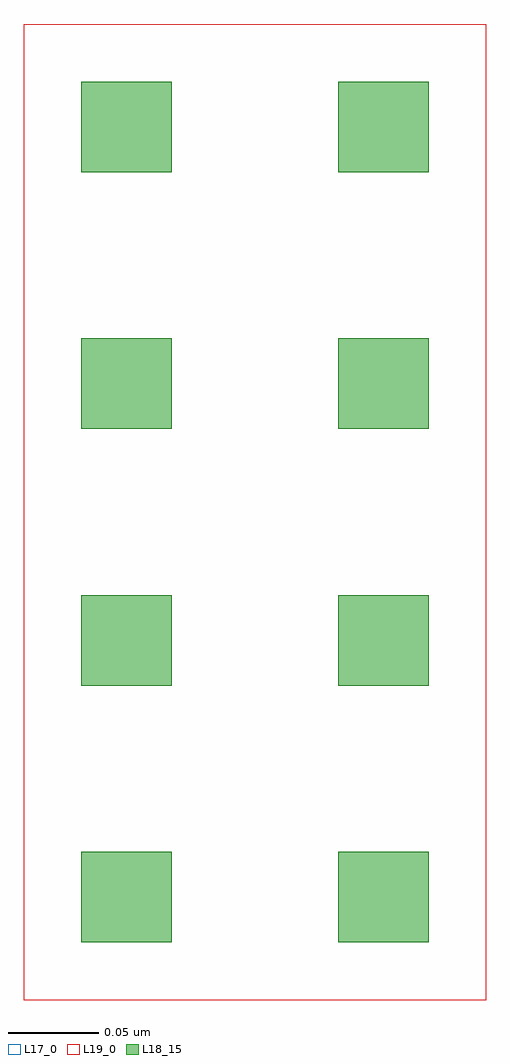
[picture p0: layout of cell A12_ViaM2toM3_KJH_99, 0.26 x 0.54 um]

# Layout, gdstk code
import gdstk
lib = gdstk.Library(unit=1e-6, precision=1e-09)
def R(c, l, rs):  # rectangles x0, y0, x1, y1
    for r in rs: c.add(gdstk.rectangle(r[:2], r[2:], *l))
def A(c, l, x, y, w, h, nx, ny, dx, dy):  # array of equal rectangles
    R(c, l, [(x+i*dx, y+j*dy, x+i*dx+w, y+j*dy+h) for i in range(nx) for j in range(ny)])
L17_0 = (17, 0)
L18_15 = (18, 15)
L19_0 = (19, 0)

a12_viam2tom3_kjh_99 = lib.new_cell('A12_ViaM2toM3_KJH_99')
R(a12_viam2tom3_kjh_99, L17_0, [(-0.032,-0.458,0.224,0.082)])
A(a12_viam2tom3_kjh_99, L18_15, 0, -0.426, 0.05, 0.05, 1, 4, 0, 0.142)
A(a12_viam2tom3_kjh_99, L18_15, 0.142, -0.426, 0.05, 0.05, 1, 4, 0, 0.142)
R(a12_viam2tom3_kjh_99, L19_0, [(-0.032,-0.458,0.224,0.082)])

lib.write_gds('A12_ViaM2toM3_KJH_99.gds')
